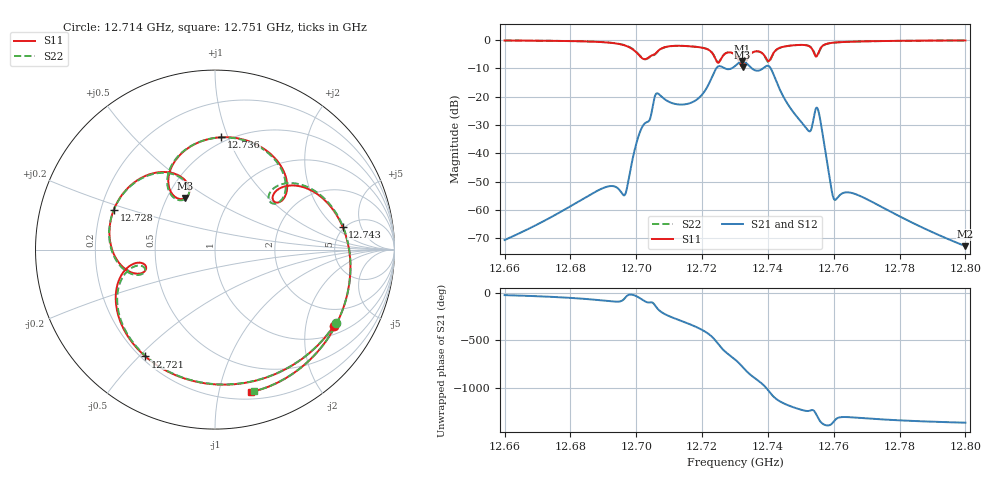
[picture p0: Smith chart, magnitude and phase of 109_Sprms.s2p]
! TOUCHSTONE file generated by CST MICROWAVE STUDIO
! Date and time: Wed Jul 31 16:16:24 2024
! Project name: WaveGuide_BPF-Ver4.1_U-shape_Ku_T3_C4_CWA_2.cst
! Parameters = {cavity_h=16; cavity_l0=10; cavity_l1=15.2173; cavity_l2=16.8617; cavity_l3=17.1455; cavity_l4=17.229; cavity_l5=17.1162; cavity_l6=17.6237; cavity_r=2.5; cavity_screw_l=0.5; cavity_screw_r=1.5; cavity_w=8; iris_h00=0; iris_h01=8.803; iris_h112=0; iris_h12=5.5957; iris_h211=3.652; iri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
! Header version: 2018
! Port assignment regex: !\s*Touchstone port\s*([0-9]+)\s*=\s*(CST MWS port|CST DS port)\s*([0-9]+|Zmin|Zmax)\s*\(\"(.*)\"\)(\s*mode\s*([0-9]+))?.*
! Touchstone port assignment:
! Touchstone port 1 = CST MWS port 1 ("")
! Touchstone port 2 = CST MWS port 2 ("")
# GHz S RI R 50
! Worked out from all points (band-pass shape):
!   5001 points, 12.66 GHz to 12.8 GHz, reference 50 ohm
!   highest |S21| = -7.46 dB at 12.732 GHz (marker M1); lowest = -72.8 dB at 12.8 GHz (marker M2)
!   |S21| within 3 dB of the highest: 12.72407 GHz to 12.73564 GHz (11.57 MHz wide, 0.0909 % of centre); 12.73793 GHz to 12.74106 GHz (3.13 MHz wide, 0.0246 % of centre)
!   lowest |S11| = -9.6 dB at 12.732 GHz (marker M3), VSWR 1.99, Z = 30.9 + j20 ohm
!   |S11| at or under -10 dB: nowhere
!   |S22| runs from -9.7 to -0.2 dB; largest |S21 - S12| = 1e-09
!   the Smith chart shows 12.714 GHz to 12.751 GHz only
!   S11 on the Smith chart (normalised r, x): 12.714 GHz: 1.28, -2.87; 12.721 GHz: 0.22, -0.52; 12.728 GHz: 0.25, +0.18; 12.736 GHz: 0.46, +0.94; 12.743 GHz: 4.78, +2.56; 12.751 GHz: 0.26, -1.25
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12.66  0.3368 0.9201  0.000268 -0.000121  0.000268 -0.000121  0.337 0.9201
12.68335  0.783 0.5355  0.000727 -0.00132  0.000727 -0.00132  0.7808 0.5395
12.6964  0.6996 -0.4011  0.000868 -0.00159  0.000868 -0.00159  0.7155 -0.3838
12.69948  0.1578 -0.6259  0.00999 -0.00514  0.00999 -0.00514  0.1987 -0.6268
12.70281  -0.4548 0.0631  -0.00155 -0.0344  -0.00155 -0.0344  -0.4564 0.0072
12.70668  0.2453 0.5976  -0.112 -0.0112  -0.112 -0.0112  0.2122 0.6021
12.71429  0.6609 -0.4269  0.0398 0.0608  0.0398 0.0608  0.6738 -0.4066
12.72096  -0.3882 -0.595  0.0854 -0.097  0.0854 -0.097  -0.3673 -0.609
12.72507  -0.3851 -0.1113  -0.3433 0.0356  -0.3433 0.0356  -0.391 -0.1213
12.72826  -0.5636 0.2228  0.1168 0.2827  0.1168 0.2827  -0.5661 0.2157
12.73  -0.3436 0.4255  0.324 0.1216  0.324 0.1216  -0.3471 0.4206
12.73227  -0.1627 0.2886  0.2294 -0.3562  0.2294 -0.3562  -0.1648 0.2826
12.7323  -0.1649 0.2873  0.2226 -0.3604  0.2226 -0.3604  -0.1669 0.2812
12.73605  0.0333 0.6258  -0.2918 -0.0157  -0.2918 -0.0157  0.0241 0.6243
12.73941  0.3845 0.2868  0.0343 0.3432  0.0343 0.3432  0.3733 0.2806
12.74344  0.7106 0.1281  0.0792 -0.1165  0.0792 -0.1165  0.7017 0.1542
12.7508  0.1993 -0.7935  -0.0289 -0.0137  -0.0289 -0.0137  0.2185 -0.7884
12.75335  -0.1491 -0.6868  -0.0252 -0.014  -0.0252 -0.014  -0.1362 -0.7032
12.75537  0.0502 -0.6018  -0.0255 0.0489  -0.0255 0.0489  0.0456 -0.5775
12.76024  -0.4236 -0.7949  -0.000234 0.00149  -0.000234 0.00149  -0.4129 -0.7986
12.77668  -0.9404 -0.203  -0.000278 0.000929  -0.000278 0.000929  -0.9395 -0.2058
12.8  -0.9388 0.287  5.46e-05 0.000222  5.46e-05 0.000222  -0.9386 0.2873
